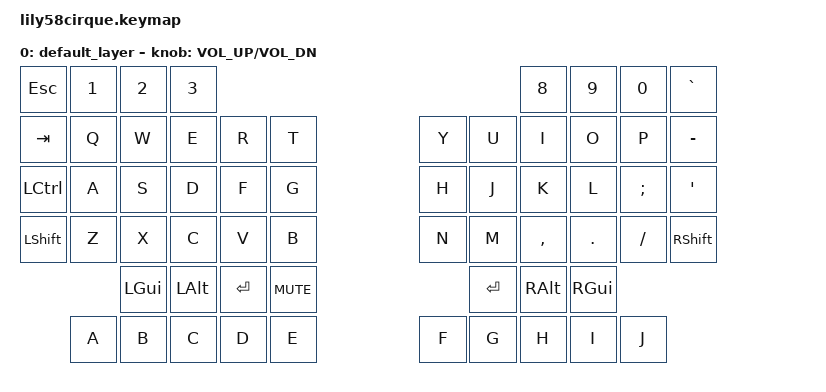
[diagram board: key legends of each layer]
/*
 * Copyright (c) 2020 The ZMK Contributors
 *
 * SPDX-License-Identifier: MIT
 */

#include <behaviors.dtsi>
#include <dt-bindings/zmk/keys.h>
#include <dt-bindings/zmk/bt.h>
#include <dt-bindings/zmk/ext_power.h>


&led_strip {
  chain-length = <6>;
  // chain-length = <27>;
  // 21 backlight + 6 glowlight
};

/ {
    keymap {
        compatible = "zmk,keymap";

        default_layer {
            bindings = <
&kp ESC   &kp N1 &kp N2   &kp N3                                                       &kp N8    &kp N9  &kp N0   &kp GRAVE
&kp TAB   &kp Q  &kp W    &kp E    &kp R    &kp T                      &kp Y  &kp U    &kp I     &kp O   &kp P    &kp MINUS
&kp LCTRL &kp A  &kp S    &kp D    &kp F    &kp G                      &kp H  &kp J    &kp K     &kp L   &kp SEMI &kp SQT
&kp LSHFT &kp Z  &kp X    &kp C    &kp V    &kp B                      &kp N  &kp M    &kp COMMA &kp DOT &kp FSLH &kp RSHFT
                 &kp LGUI &kp LALT &kp RET  &kp C_MUTE                        &kp RET  &kp RALT  &kp RGUI
          &kp A     &kp B &kp C    &kp D    &kp E                      &kp F  &kp G    &kp H     &kp I   &kp J
            >;

            sensor-bindings = <&inc_dec_kp C_VOL_UP C_VOL_DN>;
        };
    };
};
